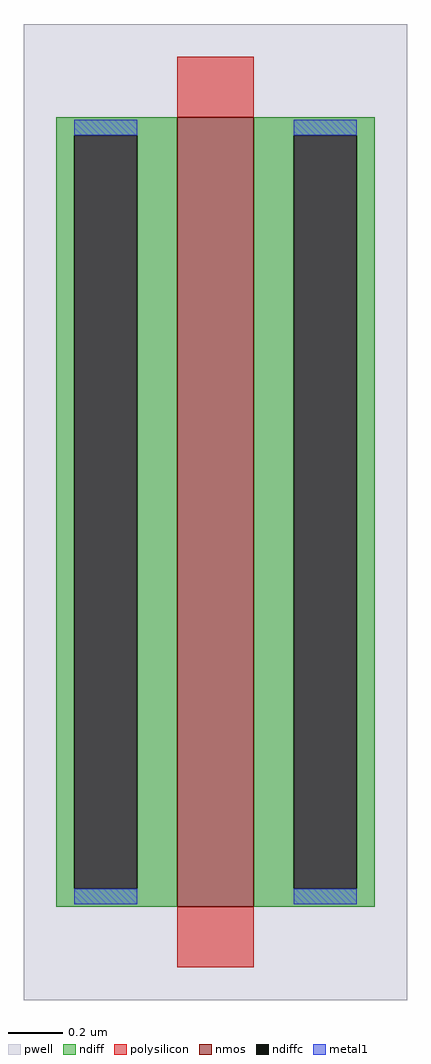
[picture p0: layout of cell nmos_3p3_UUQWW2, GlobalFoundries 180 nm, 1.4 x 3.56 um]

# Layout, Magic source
magic
tech gf180mcuC
magscale 1 10
<< pwell >>
rect -140 -356 140 356
<< nmos >>
rect -28 -288 28 288
<< ndiff >>
rect -116 275 -28 288
rect -116 -275 -103 275
rect -57 -275 -28 275
rect -116 -288 -28 -275
rect 28 275 116 288
rect 28 -275 57 275
rect 103 -275 116 275
rect 28 -288 116 -275
<< ndiffc >>
rect -103 -275 -57 275
rect 57 -275 103 275
<< polysilicon >>
rect -28 288 28 332
rect -28 -332 28 -288
<< metal1 >>
rect -103 275 -57 286
rect -103 -286 -57 -275
rect 57 275 103 286
rect 57 -286 103 -275
<< properties >>
string gencell nmos_3p3
string library gf180mcu
string parameters w 2.875 l 0.280 m 1 nf 1 diffcov 100 polycov 100 guard 0 glc 0 grc 0 gtc 0 gbc 0 tbcov 100 rlcov 100 topc 0 botc 0 poverlap 0 doverlap 1 lmin 0.28 wmin 0.22 full_metal 0 compatible {nmos_3p3 nmos_6p0 nmos_6p0_nat}
<< end >>
